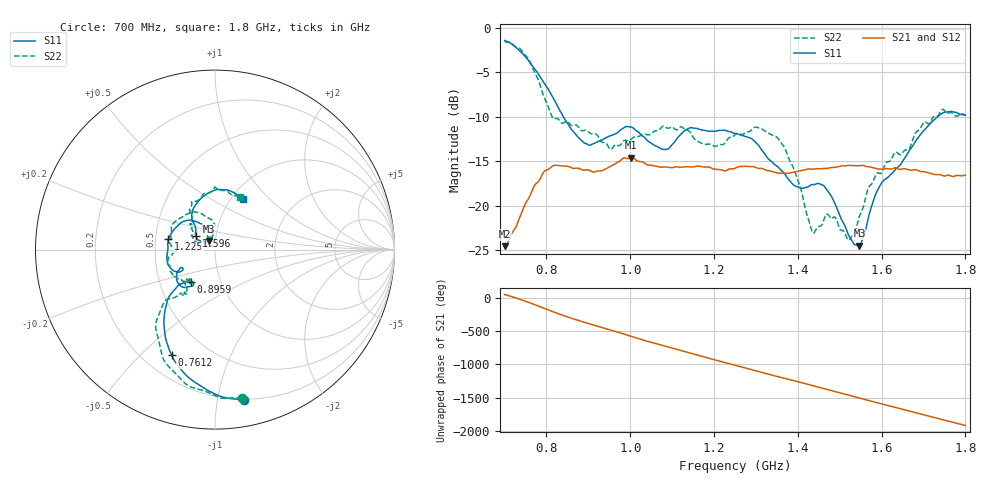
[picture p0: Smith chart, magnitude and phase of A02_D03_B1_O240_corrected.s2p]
! Created with skrf 1.9.0 (http://scikit-rf.org).
# Hz S RI R 50.0
!freq ReS11 ImS11 ReS21 ImS21 ReS12 ImS12 ReS22 ImS22
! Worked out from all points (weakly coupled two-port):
!   1601 points, 700 MHz to 1.8 GHz, reference 50 ohm
!   highest |S21| = -14.59 dB at 1.002 GHz (marker M1); lowest = -24.5 dB at 700 MHz (marker M2)
!   lowest |S11| = -24.5 dB at 1.547 GHz (marker M3), VSWR 1.13, Z = 46.4 + j4.51 ohm
!   |S11| at or under -10 dB: 840.3 MHz to 1.733 GHz (892.6 MHz wide, 69.4 % of centre)
!   |S22| runs from -23.9 to -1.5 dB; largest |S21 - S12| = 0.0035
!   S11 on the Smith chart (normalised r, x): 700 MHz: 0.20, -1.19; 761.2 MHz: 0.32, -0.62; 895.9 MHz: 0.72, -0.27; 1.225 GHz: 0.58, +0.07; 1.596 GHz: 0.80, +0.12; 1.8 GHz: 1.13, +0.72
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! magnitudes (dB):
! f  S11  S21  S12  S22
! 700 MHz  -1.4  -24.5  -24.3  -1.5
! 761.2 MHz  -3.9  -18.8  -18.7  -3.9
! 814.8 MHz  -7.8  -15.5  -15.6  -10.1
! 883.6 MHz  -12.6  -15.9  -15.8  -11.5
! 895.9 MHz  -13.0  -16.0  -16.0  -11.5
! 953 MHz  -12.1  -15.6  -15.6  -13.7
! 1.002 GHz  -11.1  -14.6  -14.7  -12.5
! 1.067 GHz  -13.4  -15.6  -15.6  -11.5
! 1.142 GHz  -11.2  -15.6  -15.6  -11.7
! 1.225 GHz  -11.5  -16.1  -16.0  -13.0
! 1.25 GHz  -11.9  -15.8  -15.7  -12.0
! 1.302 GHz  -13.0  -15.7  -15.7  -11.2
! 1.355 GHz  -15.7  -16.3  -16.3  -12.5
! 1.393 GHz  -17.8  -16.2  -16.2  -16.2
! 1.434 GHz  -17.6  -15.9  -15.9  -22.9
! 1.471 GHz  -18.3  -15.8  -15.8  -20.9
! 1.523 GHz  -23.5  -15.5  -15.5  -23.8
! 1.547 GHz  -24.5  -15.5  -15.5  -21.2
! 1.596 GHz  -17.7  -15.9  -15.9  -16.4
! 1.617 GHz  -16.7  -15.8  -15.8  -15.0
! 1.736 GHz  -9.9  -16.5  -16.5  -9.8
! 1.8 GHz  -9.8  -16.6  -16.6  -9.8
